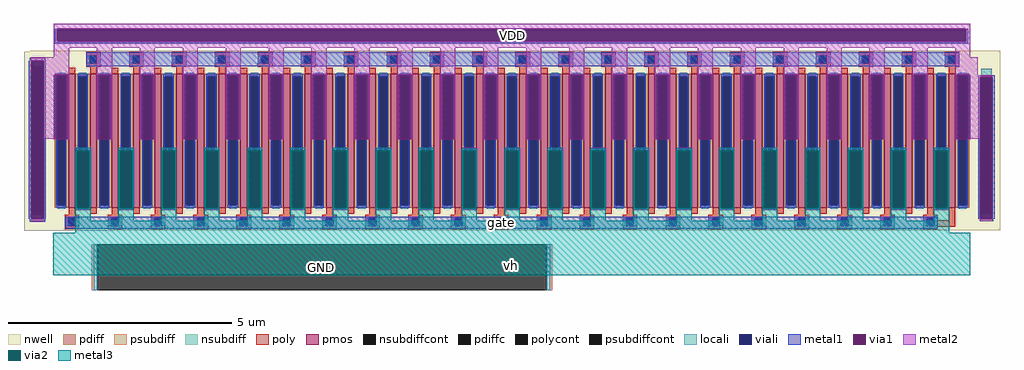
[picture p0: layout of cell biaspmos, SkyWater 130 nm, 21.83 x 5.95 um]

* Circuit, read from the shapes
.subckt biaspmos vh gate VDD
XM1 vh gate VDD VDD sky130_fd_pr__pfet_01v8 w=3 l=0.15 m=42
.ends

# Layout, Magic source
magic
tech sky130A
magscale 1 2
<< nwell >>
rect -24 -640 4314 -636
rect -52 -1438 4314 -640
rect -52 -1442 348 -1438
<< psubdiff >>
rect 252 -1706 276 -1502
rect 2286 -1706 2310 -1502
<< nsubdiff >>
rect -16 -706 32 -682
rect 30 -1366 32 -706
rect 4230 -752 4276 -716
rect -16 -1390 32 -1366
rect 4276 -1362 4278 -752
rect 4230 -1386 4278 -1362
<< psubdiffcont >>
rect 276 -1706 2286 -1502
<< nsubdiffcont >>
rect -16 -1366 30 -706
rect 4230 -1362 4276 -752
<< poly >>
rect 4084 -1393 4114 -1341
rect 4027 -1423 4114 -1393
<< locali >>
rect 88 -544 4166 -538
rect 88 -592 96 -544
rect 4160 -592 4166 -544
rect 88 -600 4166 -592
rect 4230 -752 4276 -716
rect -16 -1390 32 -1388
rect 260 -1706 276 -1502
rect 2286 -1706 2302 -1502
<< viali >>
rect 96 -592 4160 -544
rect -20 -706 36 -680
rect -20 -1366 -16 -706
rect -16 -1366 30 -706
rect 30 -1366 36 -706
rect -20 -1388 36 -1366
rect 4230 -1362 4276 -752
rect 4276 -1362 4278 -752
rect 4230 -1386 4278 -1362
<< metal1 >>
rect 84 -594 96 -538
rect 4160 -594 4172 -538
rect 84 -604 4172 -594
rect 226 -650 4130 -642
rect -26 -680 42 -668
rect -30 -1388 -20 -680
rect 36 -1388 46 -680
rect 226 -704 4132 -650
rect 226 -706 4130 -704
rect 82 -1032 88 -742
rect 144 -1032 150 -742
rect 274 -1032 280 -742
rect 336 -1032 342 -742
rect 466 -1032 472 -742
rect 528 -1032 534 -742
rect 658 -1032 664 -742
rect 720 -1032 726 -742
rect 850 -1032 856 -742
rect 912 -1032 918 -742
rect 1042 -1032 1048 -742
rect 1104 -1032 1110 -742
rect 1234 -1032 1240 -742
rect 1296 -1032 1302 -742
rect 1426 -1032 1432 -742
rect 1488 -1032 1494 -742
rect 1618 -1032 1624 -742
rect 1680 -1032 1686 -742
rect 1810 -1032 1816 -742
rect 1872 -1032 1878 -742
rect 2002 -1032 2008 -742
rect 2064 -1032 2070 -742
rect 2194 -1032 2200 -742
rect 2256 -1032 2262 -742
rect 2386 -1032 2392 -742
rect 2448 -1032 2454 -742
rect 2578 -1032 2584 -742
rect 2640 -1032 2646 -742
rect 2770 -1032 2776 -742
rect 2832 -1032 2838 -742
rect 2962 -1032 2968 -742
rect 3024 -1032 3030 -742
rect 3154 -1032 3160 -742
rect 3216 -1032 3222 -742
rect 3346 -1032 3352 -742
rect 3408 -1032 3414 -742
rect 3538 -1032 3544 -742
rect 3600 -1032 3606 -742
rect 3730 -1032 3736 -742
rect 3792 -1032 3798 -742
rect 3922 -1032 3928 -742
rect 3984 -1032 3990 -742
rect 4114 -1032 4120 -742
rect 4176 -1032 4182 -742
rect 4216 -752 4290 -746
rect 180 -1342 186 -1080
rect 238 -1342 244 -1080
rect 180 -1350 244 -1342
rect 372 -1342 378 -1080
rect 430 -1342 436 -1080
rect 372 -1350 436 -1342
rect 564 -1342 570 -1080
rect 622 -1342 628 -1080
rect 564 -1350 628 -1342
rect 756 -1342 762 -1080
rect 814 -1342 820 -1080
rect 756 -1350 820 -1342
rect 948 -1342 954 -1080
rect 1006 -1342 1012 -1080
rect 948 -1350 1012 -1342
rect 1140 -1342 1146 -1080
rect 1198 -1342 1204 -1080
rect 1140 -1350 1204 -1342
rect 1332 -1342 1338 -1080
rect 1390 -1342 1396 -1080
rect 1332 -1350 1396 -1342
rect 1524 -1342 1530 -1080
rect 1582 -1342 1588 -1080
rect 1524 -1350 1588 -1342
rect 1716 -1342 1722 -1080
rect 1774 -1342 1780 -1080
rect 1716 -1350 1780 -1342
rect 1908 -1342 1914 -1080
rect 1966 -1342 1972 -1080
rect 1908 -1350 1972 -1342
rect 2100 -1342 2106 -1080
rect 2158 -1342 2164 -1080
rect 2100 -1350 2164 -1342
rect 2292 -1342 2298 -1080
rect 2350 -1342 2356 -1080
rect 2292 -1350 2356 -1342
rect 2484 -1342 2490 -1080
rect 2542 -1342 2548 -1080
rect 2484 -1350 2548 -1342
rect 2676 -1342 2682 -1080
rect 2734 -1342 2740 -1080
rect 2676 -1350 2740 -1342
rect 2868 -1342 2874 -1080
rect 2926 -1342 2932 -1080
rect 2868 -1350 2932 -1342
rect 3060 -1342 3066 -1080
rect 3118 -1342 3124 -1080
rect 3060 -1350 3124 -1342
rect 3252 -1342 3258 -1080
rect 3310 -1342 3316 -1080
rect 3252 -1350 3316 -1342
rect 3444 -1342 3450 -1080
rect 3502 -1342 3508 -1080
rect 3444 -1350 3508 -1342
rect 3636 -1342 3642 -1080
rect 3694 -1342 3700 -1080
rect 3636 -1350 3700 -1342
rect 3828 -1342 3834 -1080
rect 3886 -1342 3892 -1080
rect 3828 -1350 3892 -1342
rect 4020 -1342 4026 -1080
rect 4078 -1342 4084 -1080
rect 4020 -1350 4084 -1342
rect -26 -1400 42 -1388
rect 132 -1432 4036 -1378
rect 4216 -1388 4226 -752
rect 4280 -1388 4290 -752
rect 4224 -1398 4284 -1388
<< via1 >>
rect 96 -544 4160 -538
rect 96 -592 4160 -544
rect 96 -594 4160 -592
rect -20 -1388 36 -680
rect 88 -1032 144 -742
rect 280 -1032 336 -742
rect 472 -1032 528 -742
rect 664 -1032 720 -742
rect 856 -1032 912 -742
rect 1048 -1032 1104 -742
rect 1240 -1032 1296 -742
rect 1432 -1032 1488 -742
rect 1624 -1032 1680 -742
rect 1816 -1032 1872 -742
rect 2008 -1032 2064 -742
rect 2200 -1032 2256 -742
rect 2392 -1032 2448 -742
rect 2584 -1032 2640 -742
rect 2776 -1032 2832 -742
rect 2968 -1032 3024 -742
rect 3160 -1032 3216 -742
rect 3352 -1032 3408 -742
rect 3544 -1032 3600 -742
rect 3736 -1032 3792 -742
rect 3928 -1032 3984 -742
rect 4120 -1032 4176 -742
rect 186 -1342 238 -1080
rect 378 -1342 430 -1080
rect 570 -1342 622 -1080
rect 762 -1342 814 -1080
rect 954 -1342 1006 -1080
rect 1146 -1342 1198 -1080
rect 1338 -1342 1390 -1080
rect 1530 -1342 1582 -1080
rect 1722 -1342 1774 -1080
rect 1914 -1342 1966 -1080
rect 2106 -1342 2158 -1080
rect 2298 -1342 2350 -1080
rect 2490 -1342 2542 -1080
rect 2682 -1342 2734 -1080
rect 2874 -1342 2926 -1080
rect 3066 -1342 3118 -1080
rect 3258 -1342 3310 -1080
rect 3450 -1342 3502 -1080
rect 3642 -1342 3694 -1080
rect 3834 -1342 3886 -1080
rect 4026 -1342 4078 -1080
rect 4226 -1386 4230 -752
rect 4230 -1386 4278 -752
rect 4278 -1386 4280 -752
rect 4226 -1388 4280 -1386
<< metal2 >>
rect 82 -538 4182 -516
rect 82 -594 96 -538
rect 4160 -594 4182 -538
rect 82 -622 4182 -594
rect 82 -664 150 -622
rect -22 -680 150 -664
rect -22 -732 -20 -680
rect 36 -742 150 -680
rect 36 -1030 88 -742
rect 82 -1032 88 -1030
rect 144 -1032 150 -742
rect 274 -742 342 -622
rect 274 -1032 280 -742
rect 336 -1032 342 -742
rect 466 -742 534 -622
rect 466 -1032 472 -742
rect 528 -1032 534 -742
rect 658 -742 726 -622
rect 658 -1032 664 -742
rect 720 -1032 726 -742
rect 850 -742 918 -622
rect 850 -1032 856 -742
rect 912 -1032 918 -742
rect 1042 -742 1110 -622
rect 1042 -1032 1048 -742
rect 1104 -1032 1110 -742
rect 1234 -742 1302 -622
rect 1234 -1032 1240 -742
rect 1296 -1032 1302 -742
rect 1426 -742 1494 -622
rect 1426 -1032 1432 -742
rect 1488 -1032 1494 -742
rect 1618 -742 1686 -622
rect 1618 -1032 1624 -742
rect 1680 -1032 1686 -742
rect 1810 -742 1878 -622
rect 1810 -1032 1816 -742
rect 1872 -1032 1878 -742
rect 2002 -742 2070 -622
rect 2002 -1032 2008 -742
rect 2064 -1032 2070 -742
rect 2194 -742 2262 -622
rect 2194 -1032 2200 -742
rect 2256 -1032 2262 -742
rect 2386 -742 2454 -622
rect 2386 -1032 2392 -742
rect 2448 -1032 2454 -742
rect 2578 -742 2646 -622
rect 2578 -1032 2584 -742
rect 2640 -1032 2646 -742
rect 2770 -742 2838 -622
rect 2770 -1032 2776 -742
rect 2832 -1032 2838 -742
rect 2962 -742 3030 -622
rect 2962 -1032 2968 -742
rect 3024 -1032 3030 -742
rect 3154 -742 3222 -622
rect 3154 -1032 3160 -742
rect 3216 -1032 3222 -742
rect 3346 -742 3414 -622
rect 3346 -1032 3352 -742
rect 3408 -1032 3414 -742
rect 3538 -742 3606 -622
rect 3538 -1032 3544 -742
rect 3600 -1032 3606 -742
rect 3730 -742 3798 -622
rect 3730 -1032 3736 -742
rect 3792 -1032 3798 -742
rect 3922 -742 3990 -622
rect 3922 -1032 3928 -742
rect 3984 -1032 3990 -742
rect 4114 -664 4182 -622
rect 4114 -742 4214 -664
rect 4114 -1032 4120 -742
rect 4176 -746 4214 -742
rect 4176 -752 4280 -746
rect 4176 -1030 4226 -752
rect 4176 -1032 4182 -1030
rect 180 -1080 244 -1070
rect 180 -1340 184 -1080
rect 240 -1340 244 -1080
rect 180 -1342 186 -1340
rect 238 -1342 244 -1340
rect 180 -1350 244 -1342
rect 372 -1080 436 -1070
rect 372 -1340 376 -1080
rect 432 -1340 436 -1080
rect 372 -1342 378 -1340
rect 430 -1342 436 -1340
rect 372 -1350 436 -1342
rect 564 -1080 628 -1070
rect 564 -1340 568 -1080
rect 624 -1340 628 -1080
rect 564 -1342 570 -1340
rect 622 -1342 628 -1340
rect 564 -1350 628 -1342
rect 756 -1080 820 -1070
rect 756 -1340 760 -1080
rect 816 -1340 820 -1080
rect 756 -1342 762 -1340
rect 814 -1342 820 -1340
rect 756 -1350 820 -1342
rect 948 -1080 1012 -1070
rect 948 -1340 952 -1080
rect 1008 -1340 1012 -1080
rect 948 -1342 954 -1340
rect 1006 -1342 1012 -1340
rect 948 -1350 1012 -1342
rect 1140 -1080 1204 -1070
rect 1140 -1340 1144 -1080
rect 1200 -1340 1204 -1080
rect 1140 -1342 1146 -1340
rect 1198 -1342 1204 -1340
rect 1140 -1350 1204 -1342
rect 1332 -1080 1396 -1070
rect 1332 -1340 1336 -1080
rect 1392 -1340 1396 -1080
rect 1332 -1342 1338 -1340
rect 1390 -1342 1396 -1340
rect 1332 -1350 1396 -1342
rect 1524 -1080 1588 -1070
rect 1524 -1340 1528 -1080
rect 1584 -1340 1588 -1080
rect 1524 -1342 1530 -1340
rect 1582 -1342 1588 -1340
rect 1524 -1350 1588 -1342
rect 1716 -1080 1780 -1070
rect 1716 -1340 1720 -1080
rect 1776 -1340 1780 -1080
rect 1716 -1342 1722 -1340
rect 1774 -1342 1780 -1340
rect 1716 -1350 1780 -1342
rect 1908 -1080 1972 -1070
rect 1908 -1340 1912 -1080
rect 1968 -1340 1972 -1080
rect 1908 -1342 1914 -1340
rect 1966 -1342 1972 -1340
rect 1908 -1350 1972 -1342
rect 2100 -1080 2164 -1070
rect 2100 -1340 2104 -1080
rect 2160 -1340 2164 -1080
rect 2100 -1342 2106 -1340
rect 2158 -1342 2164 -1340
rect 2100 -1350 2164 -1342
rect 2292 -1080 2356 -1070
rect 2292 -1340 2296 -1080
rect 2352 -1340 2356 -1080
rect 2292 -1342 2298 -1340
rect 2350 -1342 2356 -1340
rect 2292 -1350 2356 -1342
rect 2484 -1080 2548 -1070
rect 2484 -1340 2488 -1080
rect 2544 -1340 2548 -1080
rect 2484 -1342 2490 -1340
rect 2542 -1342 2548 -1340
rect 2484 -1350 2548 -1342
rect 2676 -1080 2740 -1070
rect 2676 -1340 2680 -1080
rect 2736 -1340 2740 -1080
rect 2676 -1342 2682 -1340
rect 2734 -1342 2740 -1340
rect 2676 -1350 2740 -1342
rect 2868 -1080 2932 -1070
rect 2868 -1340 2872 -1080
rect 2928 -1340 2932 -1080
rect 2868 -1342 2874 -1340
rect 2926 -1342 2932 -1340
rect 2868 -1350 2932 -1342
rect 3060 -1080 3124 -1070
rect 3060 -1340 3064 -1080
rect 3120 -1340 3124 -1080
rect 3060 -1342 3066 -1340
rect 3118 -1342 3124 -1340
rect 3060 -1350 3124 -1342
rect 3252 -1080 3316 -1070
rect 3252 -1340 3256 -1080
rect 3312 -1340 3316 -1080
rect 3252 -1342 3258 -1340
rect 3310 -1342 3316 -1340
rect 3252 -1350 3316 -1342
rect 3444 -1080 3508 -1070
rect 3444 -1340 3448 -1080
rect 3504 -1340 3508 -1080
rect 3444 -1342 3450 -1340
rect 3502 -1342 3508 -1340
rect 3444 -1350 3508 -1342
rect 3636 -1080 3700 -1070
rect 3636 -1340 3640 -1080
rect 3696 -1340 3700 -1080
rect 3636 -1342 3642 -1340
rect 3694 -1342 3700 -1340
rect 3636 -1350 3700 -1342
rect 3828 -1080 3892 -1070
rect 3828 -1340 3832 -1080
rect 3888 -1340 3892 -1080
rect 3828 -1342 3834 -1340
rect 3886 -1342 3892 -1340
rect 3828 -1350 3892 -1342
rect 4020 -1080 4084 -1070
rect 4020 -1340 4024 -1080
rect 4080 -1340 4084 -1080
rect 4020 -1342 4026 -1340
rect 4078 -1342 4084 -1340
rect 4020 -1350 4084 -1342
rect -20 -1398 36 -1388
rect 4226 -1398 4280 -1388
<< via2 >>
rect 184 -1340 186 -1080
rect 186 -1340 238 -1080
rect 238 -1340 240 -1080
rect 376 -1340 378 -1080
rect 378 -1340 430 -1080
rect 430 -1340 432 -1080
rect 568 -1340 570 -1080
rect 570 -1340 622 -1080
rect 622 -1340 624 -1080
rect 760 -1340 762 -1080
rect 762 -1340 814 -1080
rect 814 -1340 816 -1080
rect 952 -1340 954 -1080
rect 954 -1340 1006 -1080
rect 1006 -1340 1008 -1080
rect 1144 -1340 1146 -1080
rect 1146 -1340 1198 -1080
rect 1198 -1340 1200 -1080
rect 1336 -1340 1338 -1080
rect 1338 -1340 1390 -1080
rect 1390 -1340 1392 -1080
rect 1528 -1340 1530 -1080
rect 1530 -1340 1582 -1080
rect 1582 -1340 1584 -1080
rect 1720 -1340 1722 -1080
rect 1722 -1340 1774 -1080
rect 1774 -1340 1776 -1080
rect 1912 -1340 1914 -1080
rect 1914 -1340 1966 -1080
rect 1966 -1340 1968 -1080
rect 2104 -1340 2106 -1080
rect 2106 -1340 2158 -1080
rect 2158 -1340 2160 -1080
rect 2296 -1340 2298 -1080
rect 2298 -1340 2350 -1080
rect 2350 -1340 2352 -1080
rect 2488 -1340 2490 -1080
rect 2490 -1340 2542 -1080
rect 2542 -1340 2544 -1080
rect 2680 -1340 2682 -1080
rect 2682 -1340 2734 -1080
rect 2734 -1340 2736 -1080
rect 2872 -1340 2874 -1080
rect 2874 -1340 2926 -1080
rect 2926 -1340 2928 -1080
rect 3064 -1340 3066 -1080
rect 3066 -1340 3118 -1080
rect 3118 -1340 3120 -1080
rect 3256 -1340 3258 -1080
rect 3258 -1340 3310 -1080
rect 3310 -1340 3312 -1080
rect 3448 -1340 3450 -1080
rect 3450 -1340 3502 -1080
rect 3502 -1340 3504 -1080
rect 3640 -1340 3642 -1080
rect 3642 -1340 3694 -1080
rect 3694 -1340 3696 -1080
rect 3832 -1340 3834 -1080
rect 3834 -1340 3886 -1080
rect 3886 -1340 3888 -1080
rect 4024 -1340 4026 -1080
rect 4026 -1340 4078 -1080
rect 4078 -1340 4080 -1080
<< metal3 >>
rect 178 -1080 246 -1070
rect 178 -1340 184 -1080
rect 240 -1340 246 -1080
rect 178 -1396 246 -1340
rect 370 -1080 438 -1070
rect 370 -1340 376 -1080
rect 432 -1340 438 -1080
rect 370 -1396 438 -1340
rect 562 -1080 630 -1070
rect 562 -1340 568 -1080
rect 624 -1340 630 -1080
rect 562 -1396 630 -1340
rect 754 -1080 822 -1070
rect 754 -1340 760 -1080
rect 816 -1340 822 -1080
rect 754 -1396 822 -1340
rect 946 -1080 1014 -1070
rect 946 -1340 952 -1080
rect 1008 -1340 1014 -1080
rect 946 -1396 1014 -1340
rect 1138 -1080 1206 -1070
rect 1138 -1340 1144 -1080
rect 1200 -1340 1206 -1080
rect 1138 -1396 1206 -1340
rect 1330 -1080 1398 -1070
rect 1330 -1340 1336 -1080
rect 1392 -1340 1398 -1080
rect 1330 -1396 1398 -1340
rect 1522 -1080 1590 -1070
rect 1522 -1340 1528 -1080
rect 1584 -1340 1590 -1080
rect 1522 -1396 1590 -1340
rect 1714 -1080 1782 -1070
rect 1714 -1340 1720 -1080
rect 1776 -1340 1782 -1080
rect 1714 -1396 1782 -1340
rect 1906 -1080 1974 -1072
rect 1906 -1340 1912 -1080
rect 1968 -1340 1974 -1080
rect 1906 -1396 1974 -1340
rect 2098 -1080 2166 -1070
rect 2098 -1340 2104 -1080
rect 2160 -1340 2166 -1080
rect 2098 -1396 2166 -1340
rect 2290 -1080 2358 -1070
rect 2290 -1340 2296 -1080
rect 2352 -1340 2358 -1080
rect 2290 -1396 2358 -1340
rect 2482 -1080 2550 -1072
rect 2482 -1340 2488 -1080
rect 2544 -1340 2550 -1080
rect 2482 -1396 2550 -1340
rect 2674 -1080 2742 -1070
rect 2674 -1340 2680 -1080
rect 2736 -1340 2742 -1080
rect 2674 -1396 2742 -1340
rect 2866 -1080 2934 -1072
rect 2866 -1340 2872 -1080
rect 2928 -1340 2934 -1080
rect 2866 -1396 2934 -1340
rect 3058 -1080 3126 -1070
rect 3058 -1340 3064 -1080
rect 3120 -1340 3126 -1080
rect 3058 -1396 3126 -1340
rect 3250 -1080 3318 -1070
rect 3250 -1340 3256 -1080
rect 3312 -1340 3318 -1080
rect 3250 -1396 3318 -1340
rect 3442 -1080 3510 -1070
rect 3442 -1340 3448 -1080
rect 3504 -1340 3510 -1080
rect 3442 -1396 3510 -1340
rect 3634 -1080 3702 -1070
rect 3634 -1340 3640 -1080
rect 3696 -1340 3702 -1080
rect 3634 -1396 3702 -1340
rect 3826 -1080 3894 -1070
rect 3826 -1340 3832 -1080
rect 3888 -1340 3894 -1080
rect 3826 -1396 3894 -1340
rect 4018 -1080 4086 -1070
rect 4018 -1340 4024 -1080
rect 4080 -1340 4086 -1080
rect 4018 -1396 4086 -1340
rect 178 -1450 4088 -1396
rect 78 -1640 4180 -1450
use sky130_fd_pr__pfet_01v8_CC7KEW  sky130_fd_pr__pfet_01v8_CC7KEW_0
transform 1 0 2131 0 1 -1038
box -2081 -400 2081 400
<< labels >>
rlabel metal3 82 -1636 4176 -1558 1 vh
port 4 n
rlabel metal1 134 -1430 4034 -1378 1 gate
port 6 n
rlabel metal2 90 -612 4174 -524 1 VDD
port 7 n
rlabel psubdiffcont 276 -1706 2286 -1502 1 GND
<< end >>

# cell sky130_fd_pr__pfet_01v8_CC7KEW: kit device sky130_fd_pr__pfet_01v8, w 3 l 0.15 m 1 nf 42 diffcov 100 polycov 100 guard 0 glc 0 grc 0 gtc 0 gbc 0 tbcov 100 rlcov 100 topc 1 botc 1 poverlap 0 doverlap 1 lmin 0.15 wmin 0.42 compatible {sky130_fd_pr__pfet_01v8 sky130_fd_pr__pfet_01v8_lvt sky130_fd_pr__pfet_01v8_hvt sky130_fd_pr__pfet_g5v0d10v5} full_metal 0 viagl 0 viagr 0 viagt 0 viagb 0 viagate 100 viadrn 100 viasrc 100
